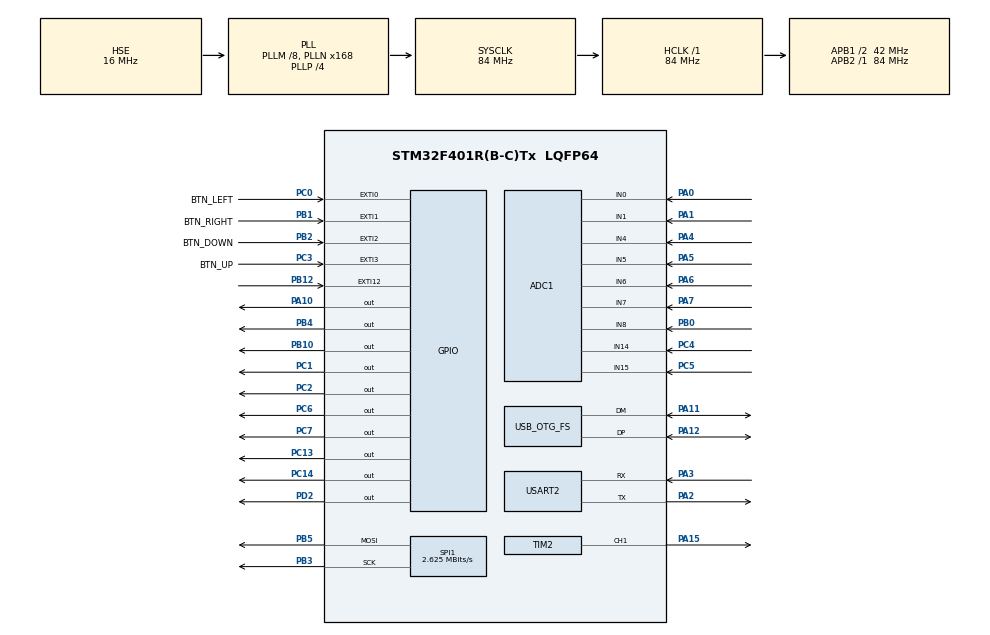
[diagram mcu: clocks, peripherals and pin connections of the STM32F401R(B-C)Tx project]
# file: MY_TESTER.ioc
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ADC1.Channel-0\#ChannelRegularConversion=ADC_CHANNEL_0
ADC1.NbrOfConversionFlag=1
ADC1.Rank-0\#ChannelRegularConversion=1
ADC1.SamplingTime-0\#ChannelRegularConversion=ADC_SAMPLETIME_3CYCLES
ADC1.master=1
Dma.Request0=USART2_RX
Dma.Request1=USART2_TX
Dma.USART2_RX.0.Direction=DMA_PERIPH_TO_MEMORY
Dma.USART2_RX.0.FIFOMode=DMA_FIFOMODE_DISABLE
Dma.USART2_RX.0.Instance=DMA1_Stream5
Dma.USART2_RX.0.MemDataAlignment=DMA_MDATAALIGN_BYTE
Dma.USART2_RX.0.MemInc=DMA_MINC_ENABLE
Dma.USART2_RX.0.Mode=DMA_CIRCULAR
Dma.USART2_RX.0.PeriphDataAlignment=DMA_PDATAALIGN_BYTE
Dma.USART2_RX.0.PeriphInc=DMA_PINC_DISABLE
Dma.USART2_RX.0.Priority=DMA_PRIORITY_LOW
Dma.USART2_TX.1.Direction=DMA_MEMORY_TO_PERIPH
Dma.USART2_TX.1.FIFOMode=DMA_FIFOMODE_DISABLE
Dma.USART2_TX.1.Instance=DMA1_Stream6
Dma.USART2_TX.1.MemDataAlignment=DMA_MDATAALIGN_BYTE
Dma.USART2_TX.1.MemInc=DMA_MINC_ENABLE
Dma.USART2_TX.1.Mode=DMA_NORMAL
Dma.USART2_TX.1.PeriphDataAlignment=DMA_PDATAALIGN_BYTE
Dma.USART2_TX.1.PeriphInc=DMA_PINC_DISABLE
Dma.USART2_TX.1.Priority=DMA_PRIORITY_LOW
Mcu.Family=STM32F4
Mcu.Name=STM32F401R(B-C)Tx
Mcu.Package=LQFP64
NVIC.DMA1_Stream5_IRQn=true\:0\:0\:false\:false\:true\:false\:true\:true
NVIC.DMA1_Stream6_IRQn=true\:0\:0\:false\:false\:true\:false\:true\:true
NVIC.EXTI0_IRQn=true\:5\:0\:true\:false\:true\:true\:true\:true
NVIC.EXTI1_IRQn=true\:5\:0\:true\:false\:true\:true\:true\:true
NVIC.EXTI2_IRQn=true\:5\:0\:true\:false\:true\:true\:true\:true
NVIC.EXTI3_IRQn=true\:5\:0\:true\:false\:true\:true\:true\:true
NVIC.PriorityGroup=NVIC_PRIORITYGROUP_4
NVIC.USART2_IRQn=true\:0\:0\:false\:false\:true\:true\:true\:true
PA0-WKUP.Signal=ADCx_IN0
PA1.Signal=ADCx_IN1
PA10.Signal=GPIO_Output
PA11.Mode=Device_Only
PA11.Signal=USB_OTG_FS_DM
PA12.Mode=Device_Only
PA12.Signal=USB_OTG_FS_DP
PA13.Signal=SYS_JTMS-SWDIO
PA14.Signal=SYS_JTCK-SWCLK
PA15.Signal=S_TIM2_CH1_ETR
PA2.Mode=Asynchronous
PA2.Signal=USART2_TX
PA3.Mode=Asynchronous
PA3.Signal=USART2_RX
PA4.Signal=ADCx_IN4
PA5.Signal=ADCx_IN5
PA6.Signal=ADCx_IN6
PA7.Signal=ADCx_IN7
PA8.Signal=I2C3_SCL
PA9.Signal=S_TIM1_CH2
PB0.Signal=ADCx_IN8
PB1.GPIO_Label=BTN_RIGHT
PB1.GPIO_ModeDefaultEXTI=GPIO_MODE_IT_RISING_FALLING
PB1.GPIO_PuPd=GPIO_PULLUP
PB1.Signal=GPXTI1
PB10.Signal=GPIO_Output
PB12.Signal=GPXTI12
PB13.Signal=SPI2_SCK
PB14.Signal=SPI2_MISO
PB15.Signal=SPI2_MOSI
PB2.GPIO_Label=BTN_DOWN
PB2.GPIO_ModeDefaultEXTI=GPIO_MODE_IT_RISING_FALLING
PB2.GPIO_PuPd=GPIO_PULLUP
PB2.Signal=GPXTI2
PB3.Mode=TX_Only_Simplex_Unidirect_Master
PB3.Signal=SPI1_SCK
PB4.Signal=GPIO_Output
PB5.Mode=TX_Only_Simplex_Unidirect_Master
PB5.Signal=SPI1_MOSI
PB6.Signal=USART1_TX
PB7.Signal=USART1_RX
PB8.Signal=I2C1_SCL
PB9.Signal=I2C1_SDA
PC0.GPIO_Label=BTN_LEFT
PC0.GPIO_ModeDefaultEXTI=GPIO_MODE_IT_RISING_FALLING
PC0.GPIO_PuPd=GPIO_PULLUP
PC0.Signal=GPXTI0
PC1.Signal=GPIO_Output
PC10.Signal=SPI3_SCK
PC11.Signal=SPI3_MISO
PC12.Signal=SPI3_MOSI
PC13-ANTI_TAMP.Signal=GPIO_Output
PC14-OSC32_IN.Signal=GPIO_Output
PC2.Signal=GPIO_Output
PC3.GPIO_Label=BTN_UP
PC3.GPIO_ModeDefaultEXTI=GPIO_MODE_IT_RISING_FALLING
PC3.GPIO_PuPd=GPIO_PULLUP
PC3.Signal=GPXTI3
PC4.Signal=ADCx_IN14
PC5.Signal=ADCx_IN15
PC6.Signal=GPIO_Output
PC7.Signal=GPIO_Output
PC9.Signal=I2C3_SDA
PD2.Signal=GPIO_Output
PH0\ -\ OSC_IN.Mode=HSE-External-Oscillator
PH0\ -\ OSC_IN.Signal=RCC_OSC_IN
PH1\ -\ OSC_OUT.Mode=HSE-External-Oscillator
PH1\ -\ OSC_OUT.Signal=RCC_OSC_OUT
ProjectManager.HeapSize=0x200
ProjectManager.StackSize=0x400
ProjectManager.TargetToolchain=CMake
RCC.48MHZClocksFreq_Value=48000000
RCC.AHBFreq_Value=84000000
RCC.APB1CLKDivider=RCC_HCLK_DIV2
RCC.APB1Freq_Value=42000000
RCC.APB1TimFreq_Value=84000000
RCC.APB2Freq_Value=84000000
RCC.APB2TimFreq_Value=84000000
RCC.CortexFreq_Value=84000000
RCC.HCLKFreq_Value=84000000
RCC.HSE_VALUE=16000000
RCC.HSI_VALUE=16000000
RCC.LSE_VALUE=32768
RCC.PLLM=8
RCC.PLLN=168
RCC.PLLP=RCC_PLLP_DIV4
RCC.PLLQ=7
RCC.SYSCLKFreq_VALUE=84000000
RCC.SYSCLKSource=RCC_SYSCLKSOURCE_PLLCLK
RCC.VCOOutputFreq_Value=336000000
SH.ADCx_IN0.0=ADC1_IN0,IN0
SH.ADCx_IN1.0=ADC1_IN1,IN1
SH.ADCx_IN14.0=ADC1_IN14,IN14
SH.ADCx_IN15.0=ADC1_IN15,IN15
SH.ADCx_IN4.0=ADC1_IN4,IN4
SH.ADCx_IN5.0=ADC1_IN5,IN5
SH.ADCx_IN6.0=ADC1_IN6,IN6
SH.ADCx_IN7.0=ADC1_IN7,IN7
SH.ADCx_IN8.0=ADC1_IN8,IN8
SH.S_TIM1_CH2.0=TIM1_CH2
SH.S_TIM2_CH1_ETR.0=TIM2_CH1,PWM Generation1 CH1
SPI1.BaudRatePrescaler=SPI_BAUDRATEPRESCALER_32
SPI1.CalculateBaudRate=2.625 MBits/s
SPI1.Direction=SPI_DIRECTION_2LINES
SPI1.Mode=SPI_MODE_MASTER
SPI1.VirtualType=VM_MASTER
TIM2.Channel-PWM\ Generation1\ CH1=TIM_CHANNEL_1
TIM2.Period=999
TIM2.Prescaler=83
USART2.VirtualMode=VM_ASYNC
USART2.WordLength=WORDLENGTH_8B
USB_OTG_FS.VirtualMode=Device_Only
VP_TIM2_VS_ClockSourceINT.Mode=Internal
board=custom

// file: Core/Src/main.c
/* USER CODE BEGIN Header */
/**
  ******************************************************************************
  * @file           : main.c
  * @brief          : Main program body
  ******************************************************************************
  * @attention
  *
  * Copyright (c) 2026 STMicroelectronics.
  * All rights reserved.
  *
  * This software is licensed under terms that can be found in the LICENSE file
  * in the root directory of this software component.
  * If no LICENSE file comes with this software, it is provided AS-IS.
  *
  ******************************************************************************
  */
/* USER CODE END Header */
#include "main.h"

/* USER CODE BEGIN Includes */
#include <stdio.h>
#include <string.h>
#include "uc1701x.h"
/* USER CODE END Includes */

/* USER CODE BEGIN PTD */
/* 버튼 1개의 결선/이름 기술자 */
typedef struct
{
  GPIO_TypeDef *port;
  uint16_t      pin;
  const char   *name;
} button_desc_t;

/* EXTI ISR -> 메인 루프로 전달되는 버튼 이벤트 */
typedef struct
{
  uint8_t index;   /* buttons[] 인덱스 */
  uint8_t pressed; /* 1 = 눌림, 0 = 뗌 */
} button_event_t;
/* USER CODE END PTD */

/* USER CODE BEGIN PD */
#define BTN_COUNT        4U
#define BTN_DEBOUNCE_MS  30U   /* 이 시간 안의 재에지는 채터링으로 간주 */
#define BTN_QUEUE_LEN    16U
#define BTN_RECONCILE_MS 50U   /* 디바운스 창에서 놓친 마지막 에지의 주기 보정 */
#define LED_BLINK_MS     500U  /* GREEN 하트비트 토글 주기 */
#define UART_RX_BUF_LEN  64U
#define LCD_HELLO_TEXT   "Hello World!"
/* USER CODE END PD */

ADC_HandleTypeDef hadc1;

SPI_HandleTypeDef hspi1;

TIM_HandleTypeDef htim2;

UART_HandleTypeDef huart2;
DMA_HandleTypeDef hdma_usart2_rx;
DMA_HandleTypeDef hdma_usart2_tx;

PCD_HandleTypeDef hpcd_USB_OTG_FS;

/* USER CODE BEGIN PV */
static const button_desc_t buttons[BTN_COUNT] =
{
  { BTN_LEFT_GPIO_Port,  BTN_LEFT_Pin,  "LEFT"  },
  { BTN_RIGHT_GPIO_Port, BTN_RIGHT_Pin, "RIGHT" },
  { BTN_DOWN_GPIO_Port,  BTN_DOWN_Pin,  "DOWN"  },
  { BTN_UP_GPIO_Port,    BTN_UP_Pin,    "UP"    },
};

/* 버튼 회로(풀 방향/액티브 레벨)가 LCD 모듈 쪽이라 미상이므로,
 * 부팅 시 관측한 레벨을 "안 눌림" 기준으로 삼고 그 반대를 "눌림"으로 판정 */
static GPIO_PinState    btn_idle_level[BTN_COUNT];
static volatile uint8_t btn_pressed[BTN_COUNT];
static volatile uint32_t btn_last_edge_tick[BTN_COUNT];

/* 단일 생산자(EXTI ISR) / 단일 소비자(메인 루프) 링 버퍼 */
static volatile button_event_t btn_queue[BTN_QUEUE_LEN];
static volatile uint8_t btn_queue_head;
static volatile uint8_t btn_queue_tail;

static volatile uint8_t cmd_led_blink = 1U; /* PC 명령 'r'=1 / 's'=0 */

static uint8_t uart_rx_buf[UART_RX_BUF_LEN]; /* USART2 DMA circular 수신 버퍼 */
/* USER CODE END PV */

void SystemClock_Config(void);
static void MX_GPIO_Init(void);
static void MX_DMA_Init(void);
static void MX_ADC1_Init(void);
static void MX_USART2_UART_Init(void);
static void MX_SPI1_Init(void);
static void MX_USB_OTG_FS_PCD_Init(void);
static void MX_TIM2_Init(void);
/* USER CODE BEGIN PFP */
static void uart_send_line(const char *line);
static void app_report_button(uint8_t index, uint8_t pressed);
/* USER CODE END PFP */

int main(void)
{

  /* MCU Configuration--------------------------------------------------------*/

  /* Reset of all peripherals, Initializes the Flash interface and the Systick. */
  HAL_Init();

  /* Configure the system clock */
  SystemClock_Config();

  /* Initialize all configured peripherals */
  MX_GPIO_Init();
  MX_DMA_Init();
  MX_ADC1_Init();
  MX_USART2_UART_Init();
  MX_SPI1_Init();
  MX_USB_OTG_FS_PCD_Init();
  MX_TIM2_Init();
  /* USER CODE BEGIN 2 */
  /* LCD 백라이트: TIM2_CH1 PWM 시작, 듀티 100% (극성 미상 -> 실물 관측 후 조정) */
  HAL_TIM_PWM_Start(&htim2, TIM_CHANNEL_1);
  __HAL_TIM_SET_COMPARE(&htim2, TIM_CHANNEL_1, 999U);

  /* LCD (JLX12864G-0088 / UC1701X) 초기화 + Hello World! */
  uc1701x_init(&hspi1);
  uc1701x_clear();
  /* 12자 x 6px = 72px -> x = (128 - 72) / 2 = 28 (page 2 = 세로 중앙 부근) */
  uc1701x_draw_string(2U, 28U, LCD_HELLO_TEXT);

  /* 버튼 idle(안 눌림) 레벨 관측 - 이후 "눌림 = idle 과 다른 레벨" 로 판정 */
  for (uint8_t i = 0U; i < BTN_COUNT; i++)
  {
    btn_idle_level[i] = HAL_GPIO_ReadPin(buttons[i].port, buttons[i].pin);
    btn_pressed[i] = 0U;
    btn_last_edge_tick[i] = 0U;
  }

  /* USART2 수신 시작: DMA circular + IDLE 라인 이벤트 */
  if (HAL_UARTEx_ReceiveToIdle_DMA(&huart2, uart_rx_buf, UART_RX_BUF_LEN) != HAL_OK)
  {
    Error_Handler();
  }

  /* 부팅 배너 + 실측 보고 (버튼 풀 방향 검증용) */
  uart_send_line("BOOT,MY_TESTER,SYSCLK=84MHz\r\n");
  {
    char boot_line[64];
    (void)snprintf(boot_line, sizeof(boot_line),
                   "BTNIDLE,LEFT=%d,RIGHT=%d,DOWN=%d,UP=%d\r\n",
                   (int)btn_idle_level[0], (int)btn_idle_level[1],
                   (int)btn_idle_level[2], (int)btn_idle_level[3]);
    uart_send_line(boot_line);
  }
  uart_send_line("LCD," LCD_HELLO_TEXT "\r\n");

  uint32_t last_blink_tick = HAL_GetTick();
  uint32_t last_reconcile_tick = HAL_GetTick();
  uint8_t  led_green_on = 0U;
  /* USER CODE END 2 */

  /* Infinite loop */
  while (1)
  {

    /* USER CODE BEGIN 3 */
    uint32_t now = HAL_GetTick();

    /* 1) EXTI ISR 이 큐에 넣은 버튼 이벤트 소비 -> UART 보고 + RED LED + LCD */
    while (btn_queue_tail != btn_queue_head)
    {
      button_event_t evt;
      evt.index   = btn_queue[btn_queue_tail].index;
      evt.pressed = btn_queue[btn_queue_tail].pressed;
      btn_queue_tail = (uint8_t)((btn_queue_tail + 1U) % BTN_QUEUE_LEN);
      app_report_button(evt.index, evt.pressed);
    }

    /* 2) 주기 보정: 디바운스 창 안에서 마지막 에지를 놓친 경우 실제 레벨로 복구 */
    if ((now - last_reconcile_tick) >= BTN_RECONCILE_MS)
    {
      last_reconcile_tick = now;
      for (uint8_t i = 0U; i < BTN_COUNT; i++)
      {
        if ((now - btn_last_edge_tick[i]) < BTN_DEBOUNCE_MS)
        {
          continue; /* 아직 안정화 전이면 판단 보류 */
        }
        GPIO_PinState level = HAL_GPIO_ReadPin(buttons[i].port, buttons[i].pin);
        uint8_t pressed = (level != btn_idle_level[i]) ? 1U : 0U;
        if (pressed != btn_pressed[i])
        {
          btn_pressed[i] = pressed;
          app_report_button(i, pressed);
        }
      }
    }

    /* 3) GREEN LED 하트비트 - PC 명령 'r'(run)/'s'(stop) 로 제어 */
    if ((cmd_led_blink != 0U) && ((now - last_blink_tick) >= LED_BLINK_MS))
    {
      last_blink_tick = now;
      led_green_on ^= 1U;
      HAL_GPIO_WritePin(GPIOC, GPIO_PIN_14,
                        (led_green_on != 0U) ? GPIO_PIN_SET : GPIO_PIN_RESET);
      char led_line[24];
      (void)snprintf(led_line, sizeof(led_line), "LED,GREEN,%u\r\n",
                     (unsigned int)led_green_on);
      uart_send_line(led_line);
    }
    if ((cmd_led_blink == 0U) && (led_green_on != 0U))
    {
      led_green_on = 0U;
      HAL_GPIO_WritePin(GPIOC, GPIO_PIN_14, GPIO_PIN_RESET);
      uart_send_line("LED,GREEN,0\r\n");
    }
  }
  /* USER CODE END 3 */
}

void SystemClock_Config(void)
{
  RCC_OscInitTypeDef RCC_OscInitStruct = {0};
  RCC_ClkInitTypeDef RCC_ClkInitStruct = {0};

  /** Configure the main internal regulator output voltage
  */
  __HAL_RCC_PWR_CLK_ENABLE();
  __HAL_PWR_VOLTAGESCALING_CONFIG(PWR_REGULATOR_VOLTAGE_SCALE2);

  /** Initializes the RCC Oscillators according to the specified parameters
  * in the RCC_OscInitTypeDef structure.
  */
  RCC_OscInitStruct.OscillatorType = RCC_OSCILLATORTYPE_HSE;
  RCC_OscInitStruct.HSEState = RCC_HSE_ON;
  RCC_OscInitStruct.PLL.PLLState = RCC_PLL_ON;
  RCC_OscInitStruct.PLL.PLLSource = RCC_PLLSOURCE_HSE;
  RCC_OscInitStruct.PLL.PLLM = 8;
  RCC_OscInitStruct.PLL.PLLN = 168;
  RCC_OscInitStruct.PLL.PLLP = RCC_PLLP_DIV4;
  RCC_OscInitStruct.PLL.PLLQ = 7;
  if (HAL_RCC_OscConfig(&RCC_OscInitStruct) != HAL_OK)
  {
    Error_Handler();
  }

  /** Initializes the CPU, AHB and APB buses clocks
  */
  RCC_ClkInitStruct.ClockType = RCC_CLOCKTYPE_HCLK|RCC_CLOCKTYPE_SYSCLK
                              |RCC_CLOCKTYPE_PCLK1|RCC_CLOCKTYPE_PCLK2;
  RCC_ClkInitStruct.SYSCLKSource = RCC_SYSCLKSOURCE_PLLCLK;
  RCC_ClkInitStruct.AHBCLKDivider = RCC_SYSCLK_DIV1;
  RCC_ClkInitStruct.APB1CLKDivider = RCC_HCLK_DIV2;
  RCC_ClkInitStruct.APB2CLKDivider = RCC_HCLK_DIV1;

  if (HAL_RCC_ClockConfig(&RCC_ClkInitStruct, FLASH_LATENCY_2) != HAL_OK)
  {
    Error_Handler();
  }
}

static void MX_ADC1_Init(void)
{

  ADC_ChannelConfTypeDef sConfig = {0};

  /** Configure the global features of the ADC (Clock, Resolution, Data Alignment and number of conversion)
  */
  hadc1.Instance = ADC1;
  hadc1.Init.ClockPrescaler = ADC_CLOCK_SYNC_PCLK_DIV4;
  hadc1.Init.Resolution = ADC_RESOLUTION_12B;
  hadc1.Init.ScanConvMode = DISABLE;
  hadc1.Init.ContinuousConvMode = DISABLE;
  hadc1.Init.DiscontinuousConvMode = DISABLE;
  hadc1.Init.ExternalTrigConvEdge = ADC_EXTERNALTRIGCONVEDGE_NONE;
  hadc1.Init.ExternalTrigConv = ADC_SOFTWARE_START;
  hadc1.Init.DataAlign = ADC_DATAALIGN_RIGHT;
  hadc1.Init.NbrOfConversion = 1;
  hadc1.Init.DMAContinuousRequests = DISABLE;
  hadc1.Init.EOCSelection = ADC_EOC_SINGLE_CONV;
  if (HAL_ADC_Init(&hadc1) != HAL_OK)
  {
    Error_Handler();
  }

  /** Configure for the selected ADC regular channel its corresponding rank in the sequencer and its sample time.
  */
  sConfig.Channel = ADC_CHANNEL_0;
  sConfig.Rank = 1;
  sConfig.SamplingTime = ADC_SAMPLETIME_3CYCLES;
  if (HAL_ADC_ConfigChannel(&hadc1, &sConfig) != HAL_OK)
  {
    Error_Handler();
  }

}

static void MX_SPI1_Init(void)
{

  /* SPI1 parameter configuration*/
  hspi1.Instance = SPI1;
  hspi1.Init.Mode = SPI_MODE_MASTER;
  hspi1.Init.Direction = SPI_DIRECTION_2LINES;
  hspi1.Init.DataSize = SPI_DATASIZE_8BIT;
  hspi1.Init.CLKPolarity = SPI_POLARITY_LOW;
  hspi1.Init.CLKPhase = SPI_PHASE_1EDGE;
  hspi1.Init.NSS = SPI_NSS_SOFT;
  hspi1.Init.BaudRatePrescaler = SPI_BAUDRATEPRESCALER_32;
  hspi1.Init.FirstBit = SPI_FIRSTBIT_MSB;
  hspi1.Init.TIMode = SPI_TIMODE_DISABLE;
  hspi1.Init.CRCCalculation = SPI_CRCCALCULATION_DISABLE;
  hspi1.Init.CRCPolynomial = 10;
  if (HAL_SPI_Init(&hspi1) != HAL_OK)
  {
    Error_Handler();
  }

}

static void MX_TIM2_Init(void)
{

  TIM_ClockConfigTypeDef sClockSourceConfig = {0};
  TIM_MasterConfigTypeDef sMasterConfig = {0};
  TIM_OC_InitTypeDef sConfigOC = {0};

  htim2.Instance = TIM2;
  htim2.Init.Prescaler = 83;
  htim2.Init.CounterMode = TIM_COUNTERMODE_UP;
  htim2.Init.Period = 999;
  htim2.Init.ClockDivision = TIM_CLOCKDIVISION_DIV1;
  htim2.Init.AutoReloadPreload = TIM_AUTORELOAD_PRELOAD_DISABLE;
  if (HAL_TIM_Base_Init(&htim2) != HAL_OK)
  {
    Error_Handler();
  }
  sClockSourceConfig.ClockSource = TIM_CLOCKSOURCE_INTERNAL;
  if (HAL_TIM_ConfigClockSource(&htim2, &sClockSourceConfig) != HAL_OK)
  {
    Error_Handler();
  }
  if (HAL_TIM_PWM_Init(&htim2) != HAL_OK)
  {
    Error_Handler();
  }
  sMasterConfig.MasterOutputTrigger = TIM_TRGO_RESET;
  sMasterConfig.MasterSlaveMode = TIM_MASTERSLAVEMODE_DISABLE;
  if (HAL_TIMEx_MasterConfigSynchronization(&htim2, &sMasterConfig) != HAL_OK)
  {
    Error_Handler();
  }
  sConfigOC.OCMode = TIM_OCMODE_PWM1;
  sConfigOC.Pulse = 0;
  sConfigOC.OCPolarity = TIM_OCPOLARITY_HIGH;
  sConfigOC.OCFastMode = TIM_OCFAST_DISABLE;
  if (HAL_TIM_PWM_ConfigChannel(&htim2, &sConfigOC, TIM_CHANNEL_1) != HAL_OK)
  {
    Error_Handler();
  }
  HAL_TIM_MspPostInit(&htim2);

}

static void MX_USART2_UART_Init(void)
{

  huart2.Instance = USART2;
  huart2.Init.BaudRate = 115200;
  huart2.Init.WordLength = UART_WORDLENGTH_8B;
  huart2.Init.StopBits = UART_STOPBITS_1;
  huart2.Init.Parity = UART_PARITY_NONE;
  huart2.Init.Mode = UART_MODE_TX_RX;
  huart2.Init.HwFlowCtl = UART_HWCONTROL_NONE;
  huart2.Init.OverSampling = UART_OVERSAMPLING_16;
  if (HAL_UART_Init(&huart2) != HAL_OK)
  {
    Error_Handler();
  }

}

static void MX_USB_OTG_FS_PCD_Init(void)
{

  hpcd_USB_OTG_FS.Instance = USB_OTG_FS;
  hpcd_USB_OTG_FS.Init.dev_endpoints = 4;
  hpcd_USB_OTG_FS.Init.speed = PCD_SPEED_FULL;
  hpcd_USB_OTG_FS.Init.dma_enable = DISABLE;
  hpcd_USB_OTG_FS.Init.phy_itface = PCD_PHY_EMBEDDED;
  hpcd_USB_OTG_FS.Init.Sof_enable = DISABLE;
  hpcd_USB_OTG_FS.Init.low_power_enable = DISABLE;
  hpcd_USB_OTG_FS.Init.lpm_enable = DISABLE;
  hpcd_USB_OTG_FS.Init.vbus_sensing_enable = DISABLE;
  hpcd_USB_OTG_FS.Init.use_dedicated_ep1 = DISABLE;
  if (HAL_PCD_Init(&hpcd_USB_OTG_FS) != HAL_OK)
  {
    Error_Handler();
  }

}

static void MX_DMA_Init(void)
{

  /* DMA controller clock enable */
  __HAL_RCC_DMA1_CLK_ENABLE();

  /* DMA interrupt init */
  /* DMA1_Stream5_IRQn interrupt configuration */
  HAL_NVIC_SetPriority(DMA1_Stream5_IRQn, 0, 0);
  HAL_NVIC_EnableIRQ(DMA1_Stream5_IRQn);
  /* DMA1_Stream6_IRQn interrupt configuration */
  HAL_NVIC_SetPriority(DMA1_Stream6_IRQn, 0, 0);
  HAL_NVIC_EnableIRQ(DMA1_Stream6_IRQn);

}

static void MX_GPIO_Init(void)
{
  GPIO_InitTypeDef GPIO_InitStruct = {0};

  /* GPIO Ports Clock Enable */
  __HAL_RCC_GPIOC_CLK_ENABLE();
  __HAL_RCC_GPIOH_CLK_ENABLE();
  __HAL_RCC_GPIOA_CLK_ENABLE();
  __HAL_RCC_GPIOB_CLK_ENABLE();
  __HAL_RCC_GPIOD_CLK_ENABLE();

  /*Configure GPIO pin Output Level */
  HAL_GPIO_WritePin(GPIOC, GPIO_PIN_13|GPIO_PIN_14|GPIO_PIN_1|GPIO_PIN_2
                          |GPIO_PIN_6|GPIO_PIN_7, GPIO_PIN_RESET);

  /*Configure GPIO pin Output Level */
  HAL_GPIO_WritePin(GPIOB, GPIO_PIN_10|GPIO_PIN_4, GPIO_PIN_RESET);

  /*Configure GPIO pin Output Level */
  HAL_GPIO_WritePin(GPIOA, GPIO_PIN_10, GPIO_PIN_RESET);

  /*Configure GPIO pin Output Level */
  HAL_GPIO_WritePin(GPIOD, GPIO_PIN_2, GPIO_PIN_RESET);

  /*Configure GPIO pins : PC13 PC14 PC1 PC2
                           PC6 PC7 */
  GPIO_InitStruct.Pin = GPIO_PIN_13|GPIO_PIN_14|GPIO_PIN_1|GPIO_PIN_2
                          |GPIO_PIN_6|GPIO_PIN_7;
  GPIO_InitStruct.Mode = GPIO_MODE_OUTPUT_PP;
  GPIO_InitStruct.Pull = GPIO_NOPULL;
  GPIO_InitStruct.Speed = GPIO_SPEED_FREQ_LOW;
  HAL_GPIO_Init(GPIOC, &GPIO_InitStruct);

  /*Configure GPIO pins : BTN_LEFT_Pin BTN_UP_Pin */
  GPIO_InitStruct.Pin = BTN_LEFT_Pin|BTN_UP_Pin;
  GPIO_InitStruct.Mode = GPIO_MODE_IT_RISING_FALLING;
  GPIO_InitStruct.Pull = GPIO_PULLUP;
  HAL_GPIO_Init(GPIOC, &GPIO_InitStruct);

  /*Configure GPIO pins : BTN_RIGHT_Pin BTN_DOWN_Pin */
  GPIO_InitStruct.Pin = BTN_RIGHT_Pin|BTN_DOWN_Pin;
  GPIO_InitStruct.Mode = GPIO_MODE_IT_RISING_FALLING;
  GPIO_InitStruct.Pull = GPIO_PULLUP;
  HAL_GPIO_Init(GPIOB, &GPIO_InitStruct);

  /*Configure GPIO pins : PB10 PB4 */
  GPIO_InitStruct.Pin = GPIO_PIN_10|GPIO_PIN_4;
  GPIO_InitStruct.Mode = GPIO_MODE_OUTPUT_PP;
  GPIO_InitStruct.Pull = GPIO_NOPULL;
  GPIO_InitStruct.Speed = GPIO_SPEED_FREQ_LOW;
  HAL_GPIO_Init(GPIOB, &GPIO_InitStruct);

  /*Configure GPIO pin : PB12 */
  GPIO_InitStruct.Pin = GPIO_PIN_12;
  GPIO_InitStruct.Mode = GPIO_MODE_IT_RISING;
  GPIO_InitStruct.Pull = GPIO_NOPULL;
  HAL_GPIO_Init(GPIOB, &GPIO_InitStruct);

  /*Configure GPIO pins : PB13 PB14 PB15 */
  GPIO_InitStruct.Pin = GPIO_PIN_13|GPIO_PIN_14|GPIO_PIN_15;
  GPIO_InitStruct.Mode = GPIO_MODE_AF_PP;
  GPIO_InitStruct.Pull = GPIO_NOPULL;
  GPIO_InitStruct.Speed = GPIO_SPEED_FREQ_VERY_HIGH;
  GPIO_InitStruct.Alternate = GPIO_AF5_SPI2;
  HAL_GPIO_Init(GPIOB, &GPIO_InitStruct);

  /*Configure GPIO pin : PC9 */
  GPIO_InitStruct.Pin = GPIO_PIN_9;
  GPIO_InitStruct.Mode = GPIO_MODE_AF_OD;
  GPIO_InitStruct.Pull = GPIO_NOPULL;
  GPIO_InitStruct.Speed = GPIO_SPEED_FREQ_VERY_HIGH;
  GPIO_InitStruct.Alternate = GPIO_AF4_I2C3;
  HAL_GPIO_Init(GPIOC, &GPIO_InitStruct);

  /*Configure GPIO pin : PA8 */
  GPIO_InitStruct.Pin = GPIO_PIN_8;
  GPIO_InitStruct.Mode = GPIO_MODE_AF_OD;
  GPIO_InitStruct.Pull = GPIO_NOPULL;
  GPIO_InitStruct.Speed = GPIO_SPEED_FREQ_VERY_HIGH;
  GPIO_InitStruct.Alternate = GPIO_AF4_I2C3;
  HAL_GPIO_Init(GPIOA, &GPIO_InitStruct);

  /*Configure GPIO pin : PA9 */
  GPIO_InitStruct.Pin = GPIO_PIN_9;
  GPIO_InitStruct.Mode = GPIO_MODE_AF_PP;
  GPIO_InitStruct.Pull = GPIO_NOPULL;
  GPIO_InitStruct.Speed = GPIO_SPEED_FREQ_LOW;
  GPIO_InitStruct.Alternate = GPIO_AF1_TIM1;
  HAL_GPIO_Init(GPIOA, &GPIO_InitStruct);

  /*Configure GPIO pin : PA10 */
  GPIO_InitStruct.Pin = GPIO_PIN_10;
  GPIO_InitStruct.Mode = GPIO_MODE_OUTPUT_PP;
  GPIO_InitStruct.Pull = GPIO_NOPULL;
  GPIO_InitStruct.Speed = GPIO_SPEED_FREQ_LOW;
  HAL_GPIO_Init(GPIOA, &GPIO_InitStruct);

  /*Configure GPIO pins : PC10 PC11 PC12 */
  GPIO_InitStruct.Pin = GPIO_PIN_10|GPIO_PIN_11|GPIO_PIN_12;
  GPIO_InitStruct.Mode = GPIO_MODE_AF_PP;
  GPIO_InitStruct.Pull = GPIO_NOPULL;
  GPIO_InitStruct.Speed = GPIO_SPEED_FREQ_VERY_HIGH;
  GPIO_InitStruct.Alternate = GPIO_AF6_SPI3;
  HAL_GPIO_Init(GPIOC, &GPIO_InitStruct);

  /*Configure GPIO pin : PD2 */
  GPIO_InitStruct.Pin = GPIO_PIN_2;
  GPIO_InitStruct.Mode = GPIO_MODE_OUTPUT_PP;
  GPIO_InitStruct.Pull = GPIO_NOPULL;
  GPIO_InitStruct.Speed = GPIO_SPEED_FREQ_LOW;
  HAL_GPIO_Init(GPIOD, &GPIO_InitStruct);

  /*Configure GPIO pins : PB6 PB7 */
  GPIO_InitStruct.Pin = GPIO_PIN_6|GPIO_PIN_7;
  GPIO_InitStruct.Mode = GPIO_MODE_AF_PP;
  GPIO_InitStruct.Pull = GPIO_NOPULL;
  GPIO_InitStruct.Speed = GPIO_SPEED_FREQ_VERY_HIGH;
  GPIO_InitStruct.Alternate = GPIO_AF7_USART1;
  HAL_GPIO_Init(GPIOB, &GPIO_InitStruct);

  /*Configure GPIO pins : PB8 PB9 */
  GPIO_InitStruct.Pin = GPIO_PIN_8|GPIO_PIN_9;
  GPIO_InitStruct.Mode = GPIO_MODE_AF_OD;
  GPIO_InitStruct.Pull = GPIO_NOPULL;
  GPIO_InitStruct.Speed = GPIO_SPEED_FREQ_VERY_HIGH;
  GPIO_InitStruct.Alternate = GPIO_AF4_I2C1;
  HAL_GPIO_Init(GPIOB, &GPIO_InitStruct);

  /* EXTI interrupt init*/
  HAL_NVIC_SetPriority(EXTI0_IRQn, 5, 0);
  HAL_NVIC_EnableIRQ(EXTI0_IRQn);

  HAL_NVIC_SetPriority(EXTI1_IRQn, 5, 0);
  HAL_NVIC_EnableIRQ(EXTI1_IRQn);

  HAL_NVIC_SetPriority(EXTI2_IRQn, 5, 0);
  HAL_NVIC_EnableIRQ(EXTI2_IRQn);

  HAL_NVIC_SetPriority(EXTI3_IRQn, 5, 0);
  HAL_NVIC_EnableIRQ(EXTI3_IRQn);

}

/* USER CODE BEGIN 4 */
/* 한 줄 송신 (블로킹). ISR 에서 호출 금지 - 메인 루프 전용 */
static void uart_send_line(const char *line)
{
  (void)HAL_UART_Transmit(&huart2, (const uint8_t *)line,
                          (uint16_t)strlen(line), 100U);
}

/* 버튼 이벤트 1건 처리: RED LED 갱신 + UART 보고 + LCD 2번째 줄 갱신 */
static void app_report_button(uint8_t index, uint8_t pressed)
{
  char line[32];

  /* RED LED = 하나라도 눌려 있으면 ON (논리 상태 기준, 극성은 실물로 확인) */
  uint8_t any_pressed = 0U;
  for (uint8_t i = 0U; i < BTN_COUNT; i++)
  {
    any_pressed |= btn_pressed[i];
  }
  HAL_GPIO_WritePin(GPIOC, GPIO_PIN_13,
                    (any_pressed != 0U) ? GPIO_PIN_SET : GPIO_PIN_RESET);

  (void)snprintf(line, sizeof(line), "BTN,%s,%u\r\n",
                 buttons[index].name, (unsigned int)pressed);
  uart_send_line(line);
  (void)snprintf(line, sizeof(line), "LED,RED,%u\r\n",
                 (unsigned int)any_pressed);
  uart_send_line(line);

  /* LCD: "BTN: LEFT  DOWN" 형식, 15자 x 6px = 90px -> x = 19 로 중앙 정렬 */
  (void)snprintf(line, sizeof(line), "BTN: %-5s %s",
                 buttons[index].name, (pressed != 0U) ? "DOWN" : "UP  ");
  uc1701x_draw_string(5U, 19U, line);
}

/* EXTI 콜백: it.c 의 EXTI0~3 핸들러 -> HAL_GPIO_EXTI_IRQHandler 경유로 호출됨.
 * ISR 컨텍스트이므로 최소 작업만: 디바운스 판정 + 상태 갱신 + 큐에 push */
void HAL_GPIO_EXTI_Callback(uint16_t GPIO_Pin)
{
  uint32_t now = HAL_GetTick();

  for (uint8_t i = 0U; i < BTN_COUNT; i++)
  {
    if (GPIO_Pin != buttons[i].pin)
    {
      continue;
    }
    if ((now - btn_last_edge_tick[i]) < BTN_DEBOUNCE_MS)
    {
      return; /* 채터링: 무시 (놓친 최종 상태는 주기 보정이 복구) */
    }
    btn_last_edge_tick[i] = now;

    GPIO_PinState level = HAL_GPIO_ReadPin(buttons[i].port, buttons[i].pin);
    uint8_t pressed = (level != btn_idle_level[i]) ? 1U : 0U;
    if (pressed == btn_pressed[i])
    {
      return; /* 상태 변화 없음 */
    }
    btn_pressed[i] = pressed;

    uint8_t next_head = (uint8_t)((btn_queue_head + 1U) % BTN_QUEUE_LEN);
    if (next_head != btn_queue_tail) /* 큐 가득 참 -> 이벤트 버림 (덮어쓰기 방지) */
    {
      btn_queue[btn_queue_head].index   = i;
      btn_queue[btn_queue_head].pressed = pressed;
      btn_queue_head = next_head;
    }
    return;
  }
}

/* USART2 수신 이벤트 (DMA circular + IDLE): PC 명령 파싱.
 * ISR 컨텍스트이므로 플래그만 갱신하고 무거운 일은 하지 않음 */
void HAL_UARTEx_RxEventCallback(UART_HandleTypeDef *huart, uint16_t Size)
{
  static uint16_t rx_pos = 0U;

  if (huart->Instance != USART2)
  {
    return;
  }

  /* Size 는 DMA 버퍼 내 현재 위치(버퍼 끝이면 LEN) -> 링 인덱스로 정규화 */
  const uint16_t end_pos = (uint16_t)(Size % UART_RX_BUF_LEN);
  while (rx_pos != end_pos)
  {
    uint8_t byte = uart_rx_buf[rx_pos];
    rx_pos = (uint16_t)((rx_pos + 1U) % UART_RX_BUF_LEN);

    if (byte == (uint8_t)'s')
    {
      cmd_led_blink = 0U;
    }
    else if (byte == (uint8_t)'r')
    {
      cmd_led_blink = 1U;
    }
  }
}
/* USER CODE END 4 */

void Error_Handler(void)
{
  __disable_irq();
  while (1)
  {
  }
}
